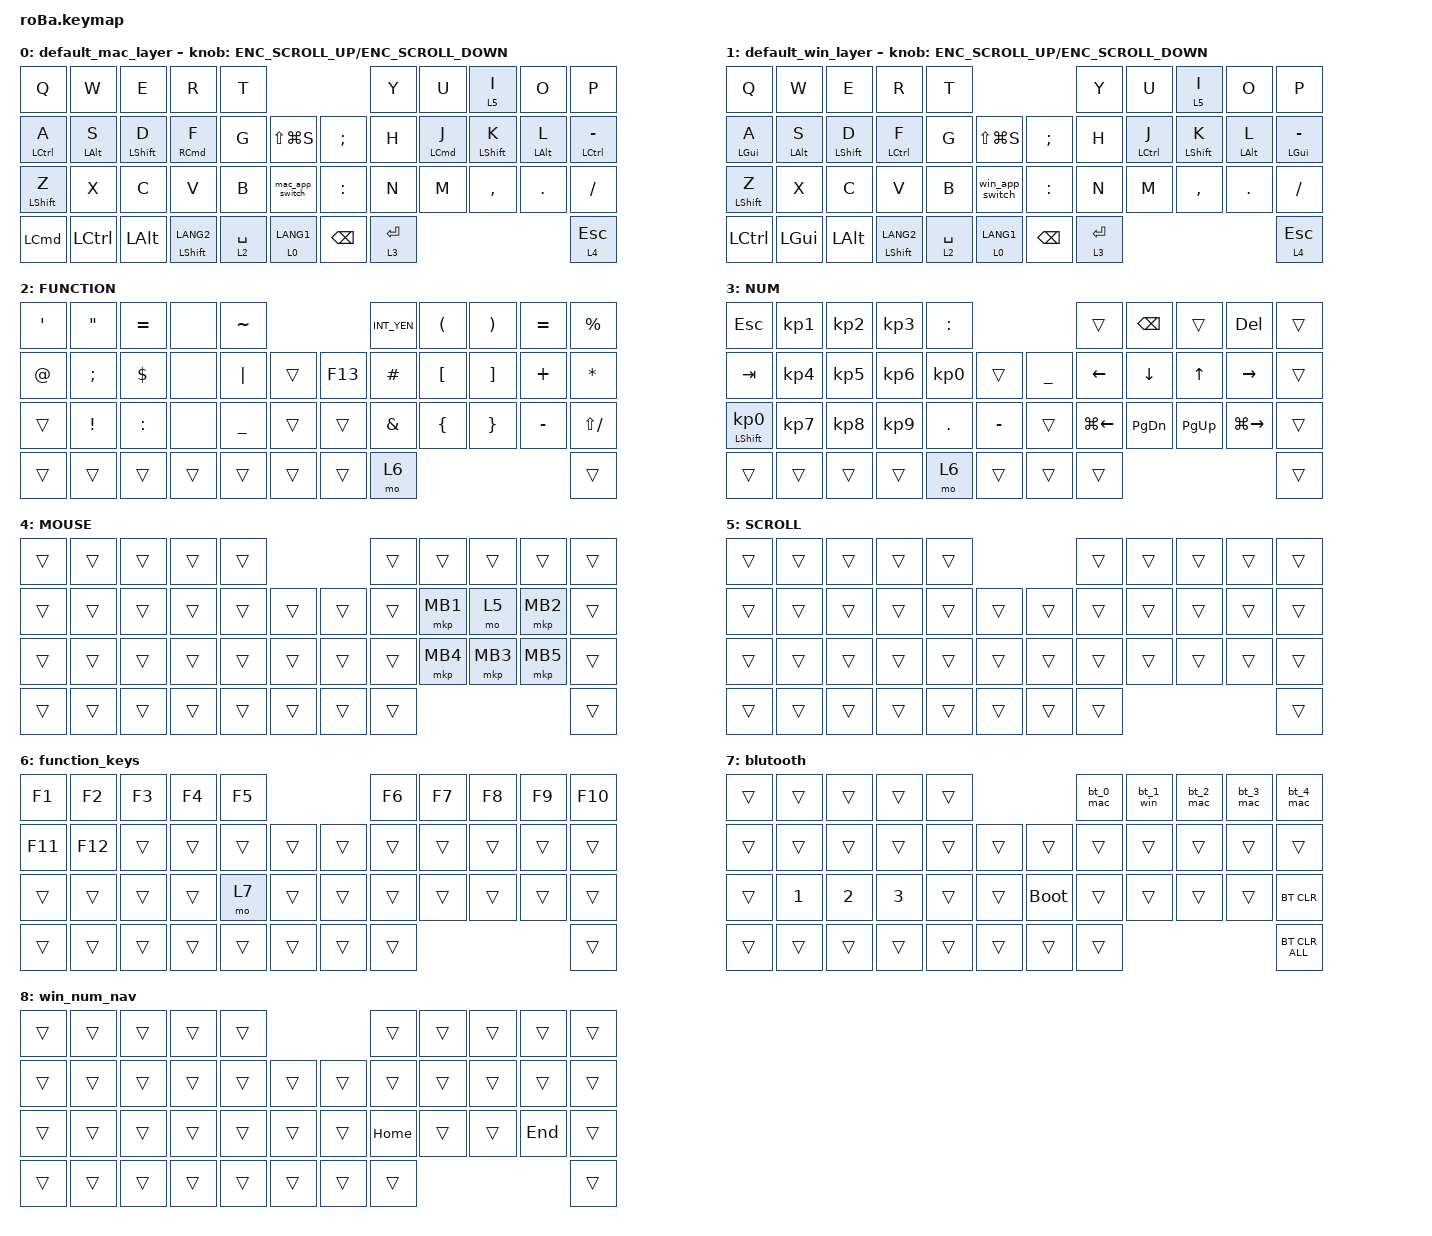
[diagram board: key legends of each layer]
#include <behaviors.dtsi>
#include <dt-bindings/zmk/bt.h>
#include <dt-bindings/zmk/keys.h>
#include <dt-bindings/zmk/pointing.h>

#define _MAC 0
#define _WIN 1
#define _FUNCTION 2
#define _NUM 3
#define _MOUSE 4
#define _SCROLL 5
#define _FN 6
#define _BT 7
#define _WIN_NUM_NAV 8
#define ENC_SCROLL_UP MOVE_Y(80)
#define ENC_SCROLL_DOWN MOVE_Y(-80)

&mt {
    flavor = "balanced";
    quick-tap-ms = <0>;
};

&trackball {
    automouse-layer = <_MOUSE>;
    scroll-layers = <_SCROLL>;
    automouse-keepalive-positions = <11 12 13 18 19 20 22 30 31 32 34 35 36>;

    // arrows {
    //     layers = <3>;
    //     bindings =
    //         <&kp RIGHT_ARROW>,
    //         <&kp LEFT_ARROW>,
    //         <&kp UP_ARROW>,
    //         <&kp DOWN_ARROW>;
    //     tick = <10>;
    //     wait-ms = <5>;
    //     tap-ms = <5>;
    // };
};

/ {
    conditional_layers {
        compatible = "zmk,conditional-layers";

        win_num_nav {
            if-layers = <_WIN _NUM>;
            then-layer = <_WIN_NUM_NAV>;
        };
    };

    combos {
        compatible = "zmk,combos";

        tab {
            bindings = <&kp TAB>;
            key-positions = <11 12>;
        };

        shift_tab {
            bindings = <&kp LS(TAB)>;
            key-positions = <12 13>;
        };

        muhennkann {
            bindings = <&to_layer_0 INT_MUHENKAN>;
            key-positions = <11 10>;
        };

        double_quotation {
            bindings = <&kp DOUBLE_QUOTES>;
            key-positions = <20 21>;
        };

        eq {
            bindings = <&kp EQUAL>;
            key-positions = <24 25>;
        };
    };

    macros {
        to_layer_0: to_layer_0 {
            compatible = "zmk,behavior-macro-one-param";
            #binding-cells = <1>;
            bindings = <&to 0 &macro_param_1to1 &kp MACRO_PLACEHOLDER>;
            label = "TO_LAYER_0";
        };

        /*
         * Windows:
         * Hold Left Alt, tap Tab, then keep Left Alt held
         * until this macro key is released.
         */

        win_app_switch: win_app_switch {
            compatible = "zmk,behavior-macro";
            #binding-cells = <0>;
            bindings =
                <&macro_press>,
                <&kp LALT>,
                <&macro_tap>,
                <&kp TAB>,
                <&macro_pause_for_release>,
                <&macro_release>,
                <&kp LALT>;
        };

        /*
         * macOS:
         * Hold Left Command, tap Tab, then keep Command held
         * until this macro key is released.
         */

        mac_app_switch: mac_app_switch {
            compatible = "zmk,behavior-macro";
            #binding-cells = <0>;
            bindings =
                <&macro_press>,
                <&kp LGUI>,
                <&macro_tap>,
                <&kp TAB>,
                <&macro_pause_for_release>,
                <&macro_release>,
                <&kp LGUI>;
        };
    };

    behaviors {
        lt_to_layer_0: lt_to_layer_0 {
            compatible = "zmk,behavior-hold-tap";
            label = "LAYER_TAP_TO_0";
            bindings = <&mo>, <&to_layer_0>;

            #binding-cells = <2>;
            tapping-term-ms = <200>;
        };

        shift_to_layer_0: shift_to_layer_0 {
            compatible = "zmk,behavior-hold-tap";
            label = "SHIFT_TAP_TO_0";
            flavor = "balanced";
            bindings = <&kp>, <&to_layer_0>;

            #binding-cells = <2>;
            tapping-term-ms = <200>;
            quick-tap-ms = <0>;
        };

        inc_dec_scroll: inc_dec_scroll {
            compatible = "zmk,behavior-sensor-rotate-var";
            #sensor-binding-cells = <2>;
            bindings = <&msc>, <&msc>;

            tap-ms = <20>;
        };

        bt_0_mac: bt_0_mac {
            label = "BT_0_MAC";
            compatible = "zmk,behavior-macro";
            #binding-cells = <0>;
            bindings = <&bt BT_SEL 0 &to _MAC>;
        };

        bt_1_win: bt_1_win {
            label = "BT_1_WIN";
            compatible = "zmk,behavior-macro";
            #binding-cells = <0>;
            bindings = <&bt BT_SEL 1 &to _WIN>;
        };

        bt_2_mac: bt_2_mac {
            label = "BT_2_MAC";
            compatible = "zmk,behavior-macro";
            #binding-cells = <0>;
            bindings = <&bt BT_SEL 2 &to _MAC>;
        };

        bt_3_mac: bt_3_mac {
            label = "BT_3_MAC";
            compatible = "zmk,behavior-macro";
            #binding-cells = <0>;
            bindings = <&bt BT_SEL 3 &to _MAC>;
        };

        bt_4_mac: bt_4_mac {
            label = "BT_4_MAC";
            compatible = "zmk,behavior-macro";
            #binding-cells = <0>;
            bindings = <&bt BT_SEL 4 &to _MAC>;
        };
    };

    keymap {
        compatible = "zmk,keymap";

        default_mac_layer {
            bindings = <
&kp Q               &kp W             &kp E             &kp R                               &kp T                                                   &kp Y        &kp U               &lt 5 I           &kp O           &kp P
&mt LEFT_CONTROL A  &mt LEFT_ALT S    &mt LEFT_SHIFT D  &mt RIGHT_COMMAND F                 &kp G        &kp LS(LG(S))               &kp SEMICOLON  &kp H        &mt LEFT_COMMAND J  &mt LEFT_SHIFT K  &mt LEFT_ALT L  &mt LEFT_CONTROL MINUS
&mt LEFT_SHIFT Z    &kp X             &kp C             &kp V                               &kp B        &mac_app_switch             &kp COLON      &kp N        &kp M               &kp COMMA         &kp DOT         &kp SLASH
&kp LEFT_COMMAND    &kp LEFT_CONTROL  &kp LEFT_ALT      &shift_to_layer_0 LEFT_SHIFT LANG2  &lt 2 SPACE  &lt_to_layer_0 0 LANG1      &kp BACKSPACE  &lt 3 ENTER                                                        &lt 4 ESCAPE
            >;

            sensor-bindings = <&inc_dec_scroll ENC_SCROLL_UP ENC_SCROLL_DOWN>;
        };

        default_win_layer {
            bindings = <
&kp Q             &kp W           &kp E             &kp R                               &kp T                                                   &kp Y        &kp U               &lt 5 I           &kp O           &kp P
&mt LEFT_GUI A    &mt LEFT_ALT S  &mt LEFT_SHIFT D  &mt LCTRL F                         &kp G        &kp LS(LG(S))               &kp SEMICOLON  &kp H        &mt LEFT_CONTROL J  &mt LEFT_SHIFT K  &mt LEFT_ALT L  &mt LEFT_GUI MINUS
&mt LEFT_SHIFT Z  &kp X           &kp C             &kp V                               &kp B        &win_app_switch             &kp COLON      &kp N        &kp M               &kp COMMA         &kp DOT         &kp SLASH
&kp LEFT_CONTROL  &kp LEFT_GUI    &kp LEFT_ALT      &shift_to_layer_0 LEFT_SHIFT LANG2  &lt 2 SPACE  &lt_to_layer_0 0 LANG1      &kp BACKSPACE  &lt 3 ENTER                                                        &lt 4 ESCAPE
            >;

            sensor-bindings = <&inc_dec_scroll ENC_SCROLL_UP ENC_SCROLL_DOWN>;
        };

        FUNCTION {
            bindings = <
&kp SQT      &kp DOUBLE_QUOTES  &kp EQUAL   &none   &kp TILDE                       &kp INT_YEN    &kp LEFT_PARENTHESIS  &kp RIGHT_PARENTHESIS  &kp EQUAL  &kp PERCENT
&kp AT_SIGN  &kp SEMICOLON      &kp DOLLAR  &none   &kp PIPE   &trans      &kp F13  &kp HASH       &kp LEFT_BRACKET      &kp RIGHT_BRACKET      &kp PLUS   &kp ASTERISK
&trans       &kp EXCLAMATION    &kp COLON   &none   &kp UNDER  &trans      &trans   &kp AMPERSAND  &kp LEFT_BRACE        &kp RIGHT_BRACE        &kp MINUS  &kp LS(SLASH)
&trans       &trans             &trans      &trans  &trans     &trans      &trans   &mo 6                                                                  &trans
            >;
        };

        NUM {
            bindings = <
&kp ESC                     &kp KP_NUMBER_1  &kp KP_NUMBER_2  &kp KP_NUMBER_3  &kp COLON                                       &trans              &kp BACKSPACE   &trans        &kp DELETE           &trans
&kp TAB                     &kp KP_NUMBER_4  &kp KP_NUMBER_5  &kp KP_NUMBER_6  &kp KP_NUMBER_0  &trans         &kp UNDERSCORE  &kp LEFT_ARROW      &kp DOWN_ARROW  &kp UP_ARROW  &kp RIGHT            &trans
&mt LEFT_SHIFT KP_NUMBER_0  &kp KP_NUMBER_7  &kp KP_NUMBER_8  &kp KP_NUMBER_9  &kp PERIOD       &kp MINUS      &trans          &kp LG(LEFT_ARROW)  &kp PAGE_DOWN   &kp PAGE_UP   &kp LG(RIGHT_ARROW)  &trans
&trans                      &trans           &trans           &trans           &mo 6            &trans         &trans          &trans                                                                 &trans
            >;
        };

        MOUSE {
            bindings = <
&trans  &trans  &trans  &trans  &trans                      &trans  &trans    &trans    &trans    &trans
&trans  &trans  &trans  &trans  &trans  &trans      &trans  &trans  &mkp MB1  &mo 5     &mkp MB2  &trans
&trans  &trans  &trans  &trans  &trans  &trans      &trans  &trans  &mkp MB4  &mkp MB3  &mkp MB5  &trans
&trans  &trans  &trans  &trans  &trans  &trans      &trans  &trans                                &trans
            >;
        };

        SCROLL {
            bindings = <
&trans  &trans  &trans  &trans  &trans                      &trans  &trans  &trans  &trans  &trans
&trans  &trans  &trans  &trans  &trans  &trans      &trans  &trans  &trans  &trans  &trans  &trans
&trans  &trans  &trans  &trans  &trans  &trans      &trans  &trans  &trans  &trans  &trans  &trans
&trans  &trans  &trans  &trans  &trans  &trans      &trans  &trans                          &trans
            >;
        };

        function_keys {
            bindings = <
&kp F1   &kp F2   &kp F3  &kp F4  &kp F5                      &kp F6  &kp F7  &kp F8  &kp F9  &kp F10
&kp F11  &kp F12  &trans  &trans  &trans  &trans      &trans  &trans  &trans  &trans  &trans  &trans
&trans   &trans   &trans  &trans  &mo 7   &trans      &trans  &trans  &trans  &trans  &trans  &trans
&trans   &trans   &trans  &trans  &trans  &trans      &trans  &trans                          &trans
            >;
        };

        blutooth {
            bindings = <
&trans  &trans        &trans        &trans        &trans                           &bt_0_mac  &bt_1_win  &bt_2_mac  &bt_3_mac  &bt_4_mac
&trans  &trans        &trans        &trans        &trans  &trans      &trans       &trans     &trans     &trans     &trans     &trans
&trans  &kp NUMBER_1  &kp NUMBER_2  &kp NUMBER_3  &trans  &trans      &bootloader  &trans     &trans     &trans     &trans     &bt BT_CLR
&trans  &trans        &trans        &trans        &trans  &trans      &trans       &trans                                      &bt BT_CLR_ALL
            >;
        };

        win_num_nav {
            bindings = <
&trans  &trans  &trans  &trans  &trans                      &trans    &trans  &trans  &trans   &trans
&trans  &trans  &trans  &trans  &trans  &trans      &trans  &trans    &trans  &trans  &trans   &trans
&trans  &trans  &trans  &trans  &trans  &trans      &trans  &kp HOME  &trans  &trans  &kp END  &trans
&trans  &trans  &trans  &trans  &trans  &trans      &trans  &trans                             &trans
            >;
        };
    };
};
